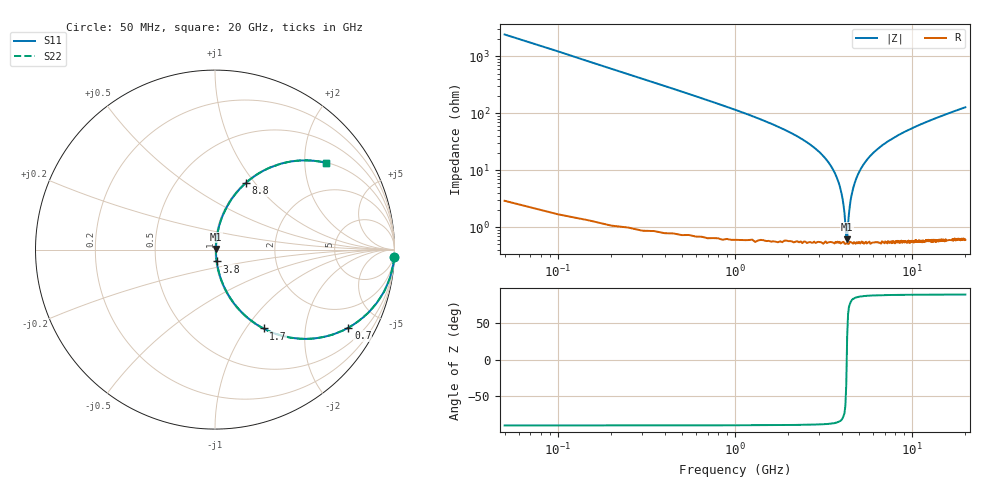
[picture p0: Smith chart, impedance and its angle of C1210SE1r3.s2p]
! AVX Thin Film Operation		Date: April 2012
! Description: Accu-P® Series, Thin Film, SMD, RF Capacitor
! Part Number: 12101J1R3PBTTR
!	100	MHz	-	20.05	GHz
!	Serial	Measurements
#	MHZ	S	MA	R	50
!	S11	S21	S12	S22
!	dB	Phase	dB	Phase	dB	Phase	dB	Phase
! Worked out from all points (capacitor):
!   400 points, 50 MHz to 20 GHz, reference 50 ohm
!   read as one part in series: C = 1.3 pF near 150 MHz
!   lowest |Z| = 614 mohm at 4.3 GHz (marker M1)
!   series resonance near 4.275 GHz, so ESL is about 1.1 nH
!   S11 on the Smith chart (normalised r, x): 50 MHz: 1, -49; 700 MHz: 1.01, -3.41; 1.7 GHz: 1.01, -1.21; 3.8 GHz: 1.01, -0.13; 8.8 GHz: 1.01, +0.90; 20 GHz: 1.01, +2.56
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50  0.999 -2.3  0.041 87.6  0.041 87.6  0.999 -2.3
150  0.992 -7.0  0.122 82.9  0.122 82.9  0.992 -7.0
250  0.979 -11.6  0.201 78.3  0.201 78.3  0.979 -11.6
450  0.936 -20.4  0.348 69.5  0.348 69.5  0.936 -20.4
700  0.861 -30.4  0.506 59.4  0.506 59.4  0.861 -30.4
1700  0.516 -58.4  0.852 31.1  0.852 31.1  0.516 -58.4
3400  0.131 -80.2  0.986 7.5  0.986 7.5  0.131 -80.2
3800  0.067 -81.7  0.992 3.8  0.992 3.8  0.067 -81.7
4050  0.031 -78.5  0.994 1.8  0.994 1.8  0.031 -78.5
4150  0.018 -71.7  0.995 1.0  0.995 1.0  0.018 -71.7
4250  0.006263 -32.3  0.995 0.2  0.995 0.2  0.006263 -32.3
4300  0.006228 31.8  0.995 -0.2  0.995 -0.2  0.006228 31.8
4400  0.017 71.2  0.995 -0.9  0.995 -0.9  0.017 71.2
4500  0.03 78.1  0.994 -1.7  0.994 -1.7  0.03 78.1
4900  0.078 81.7  0.992 -4.5  0.992 -4.5  0.078 81.7
5550  0.149 79.4  0.984 -8.6  0.984 -8.6  0.149 79.4
6700  0.256 74.0  0.962 -14.8  0.962 -14.8  0.256 74.0
8800  0.409 65.2  0.908 -24.1  0.908 -24.1  0.409 65.2
10050  0.481 60.7  0.872 -28.7  0.872 -28.7  0.481 60.7
13350  0.624 51.0  0.777 -38.6  0.777 -38.6  0.624 51.0
16700  0.721 43.6  0.689 -46.1  0.689 -46.1  0.721 43.6
20000  0.786 37.9  0.615 -51.8  0.615 -51.8  0.786 37.9
